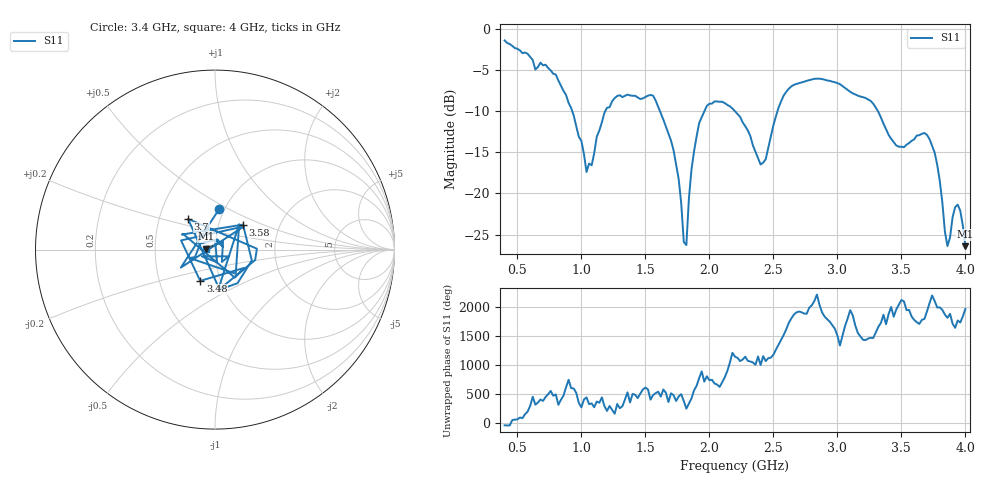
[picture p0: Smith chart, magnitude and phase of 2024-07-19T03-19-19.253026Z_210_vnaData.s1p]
!Created with skrf (http://scikit-rf.org).
# Hz S RI R 50.0
!freq ReS11 ImS11
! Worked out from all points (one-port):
!   181 points, 400 MHz to 4 GHz, reference 50 ohm
!   lowest |S11| = -26.4 dB at 4 GHz (marker M1), VSWR 1.10, Z = 45.5 + j0.437 ohm
!   |S11| at or under -10 dB: 1.614 GHz to 1.96 GHz (345.9 MHz wide, 19.4 % of centre); 2.201 GHz to 2.531 GHz (329.8 MHz wide, 13.9 % of centre); 3.318 GHz to end of sweep (the widest 3 of 4)
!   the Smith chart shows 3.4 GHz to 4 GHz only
!   S11 on the Smith chart (normalised r, x): 3.4 GHz: 0.94, +0.45; 3.48 GHz: 0.80, -0.29; 3.58 GHz: 1.31, +0.38; 3.7 GHz: 0.70, +0.25; 4 GHz: 0.91, +0.01
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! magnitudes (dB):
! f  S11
! 400 MHz  -1.4
! 860 MHz  -7.5
! 1.04 GHz  -17.4
! 1.18 GHz  -10.2
! 1.3 GHz  -8.0
! 1.56 GHz  -8.1
! 1.7 GHz  -13.6
! 1.76 GHz  -18.2
! 1.8 GHz  -25.9
! 1.82 GHz  -26.3
! 1.86 GHz  -17.1
! 1.92 GHz  -11.4
! 2.04 GHz  -8.8
! 2.2 GHz  -10.0
! 2.4 GHz  -16.5
! 2.56 GHz  -8.8
! 2.66 GHz  -6.8
! 3.1 GHz  -7.6
! 3.28 GHz  -9.1
! 3.4 GHz  -12.9
! 3.48 GHz  -14.3
! 3.56 GHz  -13.9
! 3.58 GHz  -13.6
! 3.7 GHz  -12.9
! 3.78 GHz  -16.5
! 3.86 GHz  -26.4
! 3.94 GHz  -21.4
! 4 GHz  -26.4
